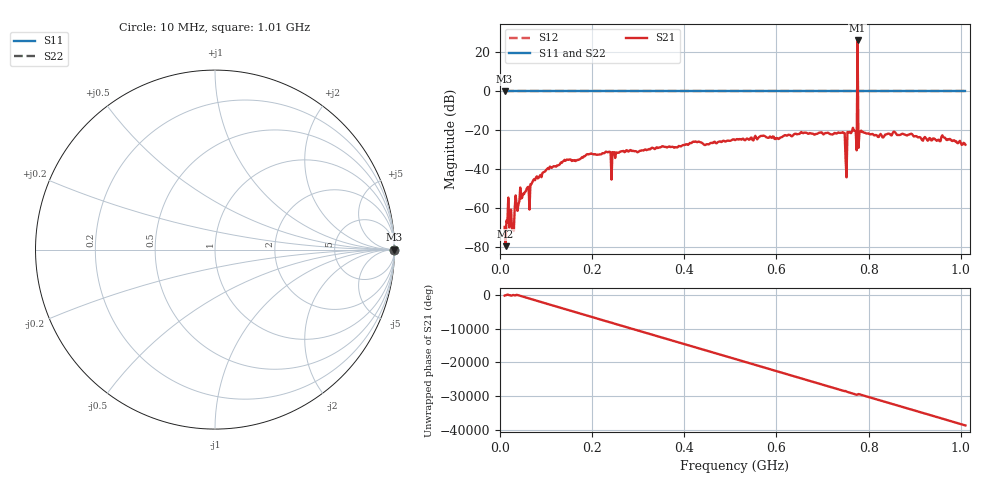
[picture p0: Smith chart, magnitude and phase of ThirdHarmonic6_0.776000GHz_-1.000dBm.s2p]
! 8/16/2025 1:55:17 AM
! C:\ANRITSUVNA\TEMP\TEMP.S2P
! CHANNEL.1
! TR.MEASUREMENT
! RAW.DATA
! RF.CORRECTION.OFF
! AVERAGING.OFF
! IF.BANDWIDTH: 5KHZ
! SWEEPTYPE:  FREQ.SWEEP(Linear)
! Reference Plane Port Info
! PORT:  PORT1  PORT2
! DISTANCE:  0  m  0  m
! TIME:  0  s  0  s
! PHASE.OFFSET:  0  deg.  0  deg.
! LOSS:  0  dB  0  dB
! REF.LOSS:  0  dB  0  dB
! REF.FREQ:  0  Hz  0  Hz
! Power Info
! POWER:  -20  dBm  -20  dBm
! EFF.POWER:  -20  dBm  -20  dBm
! SOURCE.ATTEN:  0  dB  0  dB
! TEST.ATTEN:  0  dB  0  dB
# GHZ S RI R 50.0
! FREQ.GHZ  S11RE  S11IM  S21RE  S21IM  S12RE  S12IM  S22RE  S22IM
!; PortSelection: Port_12
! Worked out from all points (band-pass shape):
!   501 points, 10 MHz to 1.01 GHz, reference 50 ohm
!   highest |S21| = 26.11 dB at 776 MHz (marker M1); lowest = -79.6 dB at 12 MHz (marker M2)
!   |S21| within 3 dB of the highest: 775.8937 MHz to 776.1087 MHz (215 kHz wide, 0.0277 % of centre)
!   lowest |S11| = 0.0 dB at 10 MHz (marker M3)
!   |S11| at or under -10 dB: nowhere
!   |S22| runs from 0.0 to 0.0 dB; largest |S21 - S12| = 19
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0.01  1 0  0.000123 -0.000301  1 0  1 0
0.012  1 0  7.81e-05 6.91e-05  1 0  1 0
0.02  1 0  4.27e-05 0.000312  1 0  1 0
0.026  1 0  0.000251 -0.000127  1 0  1 0
0.046  1 0  -0.00143 0.001  1 0  1 0
0.076  1 0  0.00516 7.67e-05  1 0  1 0
0.178  1 0  -0.0198 -0.0034  1 0  1 0
0.246  1 0  0.0194 -0.0184  1 0  1 0
0.344  1 0  0.0332 -0.0116  1 0  1 0
0.51  1 0  -0.0425 0.0357  1 0  1 0
0.678  1 0  -0.0762 -0.03  1 0  1 0
0.744  1 0  0.0518 0.072  1 0  1 0
0.748  1 0  -0.025 -0.0801  1 0  1 0
0.754  1 0  0.0868 0.0224  1 0  1 0
0.758  1 0  -0.0795 -0.0428  1 0  1 0
0.77  1 0  0.019 0.0947  1 0  1 0
0.772  1 0  0.0937 -0.0041  1 0  1 0
0.776  1 0  19.29 -6.003  1 0  1 0
0.78  1 0  0.0676 0.0544  1 0  1 0
0.782  1 0  0.0693 -0.0619  1 0  1 0
0.844  1 0  0.0745 -0.0321  1 0  1 0
1.01  1 0  -0.0169 0.0389  1 0  1 0
